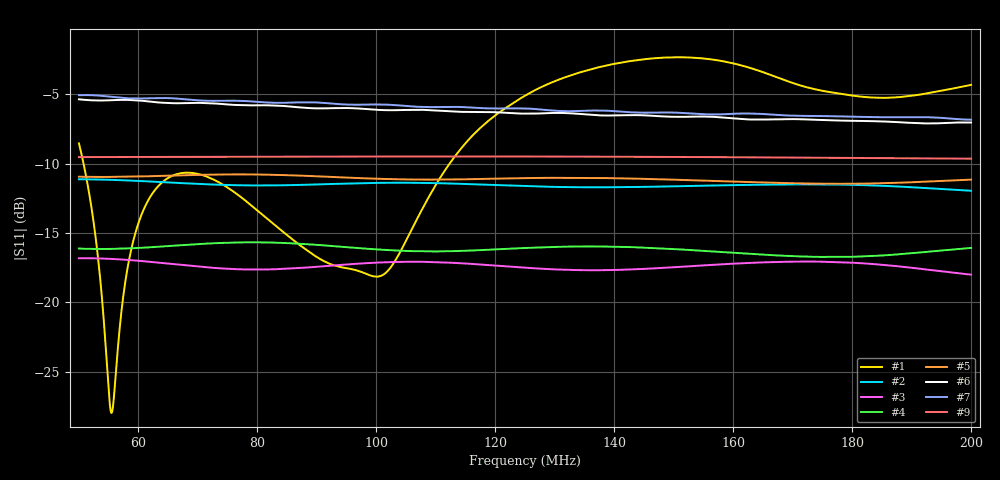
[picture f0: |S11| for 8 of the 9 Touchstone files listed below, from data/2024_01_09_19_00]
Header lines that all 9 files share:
! COPPER MOUNTAIN TECHNOLOGIES, PLANAR TR1300/1, 00071119, 20.2.2/1.0
! Data: Format [Calibration Info]
! Freq  S11: Re/Im F1
# HZ S RI R 50
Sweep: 50 MHz to 200 MHz
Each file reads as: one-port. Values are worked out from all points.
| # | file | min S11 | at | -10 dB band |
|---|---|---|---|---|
| 1 | ant.s1p | -28.0 dB | 55.47 MHz | 61.52 MHz wide |
| 2 | c2r27.s1p | -11.9 dB | 200 MHz | over 150 MHz wide |
| 3 | c2r36.s1p | -18.0 dB | 200 MHz | over 150 MHz wide |
| 4 | c2r69.s1p | -16.7 dB | 176.5 MHz | over 150 MHz wide |
| 5 | c2r91.s1p | -11.4 dB | 178.1 MHz | over 150 MHz wide |
| 6 | c10r10.s1p | -7.1 dB | 193 MHz | - |
| 7 | c10r250.s1p | -6.8 dB | 200 MHz | - |
| 8 | r25.s1p | -10.0 dB | 138.1 MHz | - |
| 9 | r100.s1p | -9.6 dB | 200 MHz | - |
